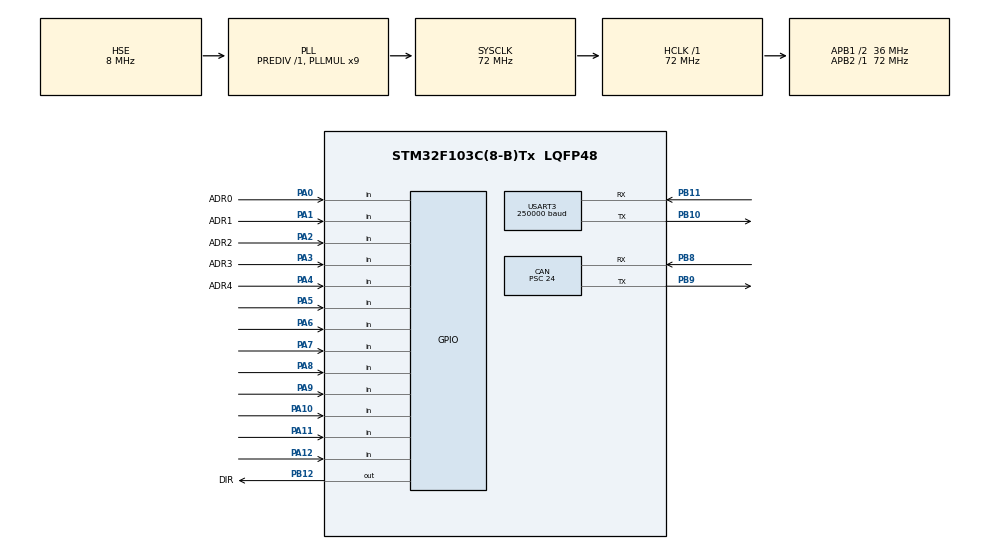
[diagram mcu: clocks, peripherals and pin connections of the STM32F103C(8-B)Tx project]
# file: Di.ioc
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CAN.CalculateBaudRate=499999
CAN.CalculateTimeBit=2000
CAN.CalculateTimeQuantum=666.6666666666667
CAN.Prescaler=24
Mcu.Family=STM32F1
Mcu.Name=STM32F103C(8-B)Tx
Mcu.Package=LQFP48
NVIC.PriorityGroup=NVIC_PRIORITYGROUP_4
NVIC.USART3_IRQn=true\:0\:0\:false\:false\:true\:true\:true\:true
NVIC.USB_LP_CAN1_RX0_IRQn=true\:0\:0\:false\:false\:true\:true\:true\:true
PA0-WKUP.GPIO_Label=ADR0
PA0-WKUP.Signal=GPIO_Input
PA1.GPIO_Label=ADR1
PA1.Signal=GPIO_Input
PA10.Signal=GPIO_Input
PA11.Signal=GPIO_Input
PA12.Signal=GPIO_Input
PA13.Mode=Serial_Wire
PA13.Signal=SYS_JTMS-SWDIO
PA14.Mode=Serial_Wire
PA14.Signal=SYS_JTCK-SWCLK
PA2.GPIO_Label=ADR2
PA2.Signal=GPIO_Input
PA3.GPIO_Label=ADR3
PA3.Signal=GPIO_Input
PA4.GPIO_Label=ADR4
PA4.Signal=GPIO_Input
PA5.Signal=GPIO_Input
PA6.Signal=GPIO_Input
PA7.Signal=GPIO_Input
PA8.Signal=GPIO_Input
PA9.Signal=GPIO_Input
PB10.Mode=Asynchronous
PB10.Signal=USART3_TX
PB11.Mode=Asynchronous
PB11.Signal=USART3_RX
PB12.GPIO_Label=DIR
PB12.Signal=GPIO_Output
PB8.Mode=CAN_Activate
PB8.Signal=CAN_RX
PB9.Mode=CAN_Activate
PB9.Signal=CAN_TX
PD0-OSC_IN.Mode=HSE-External-Oscillator
PD0-OSC_IN.Signal=RCC_OSC_IN
PD1-OSC_OUT.Mode=HSE-External-Oscillator
PD1-OSC_OUT.Signal=RCC_OSC_OUT
ProjectManager.HeapSize=0x200
ProjectManager.StackSize=0x400
ProjectManager.TargetToolchain=Other Toolchains (GPDSC)
RCC.AHBFreq_Value=72000000
RCC.APB1CLKDivider=RCC_HCLK_DIV2
RCC.APB1Freq_Value=36000000
RCC.APB1TimFreq_Value=72000000
RCC.APB2Freq_Value=72000000
RCC.APB2TimFreq_Value=72000000
RCC.HCLKFreq_Value=72000000
RCC.PLLMUL=RCC_PLL_MUL9
RCC.PLLSourceVirtual=RCC_PLLSOURCE_HSE
RCC.SYSCLKFreq_VALUE=72000000
RCC.SYSCLKSource=RCC_SYSCLKSOURCE_PLLCLK
RCC.USBFreq_Value=72000000
TIM1.Period=65534
TIM1.Prescaler=72-1
USART3.BaudRate=250000
USART3.VirtualMode=VM_ASYNC
USART3.WordLength=WORDLENGTH_8B
VP_CRC_VS_CRC.Mode=CRC_Activate
VP_TIM1_VS_ClockSourceINT.Mode=Internal
board=custom

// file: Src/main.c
/* USER CODE BEGIN Header */
/**
  ******************************************************************************
  * @file           : main.c
  * @brief          : Main program body
  ******************************************************************************
  * @attention
  *
  * Copyright (c) 2022 STMicroelectronics.
  * All rights reserved.
  *
  * This software is licensed under terms that can be found in the LICENSE file
  * in the root directory of this software component.
  * If no LICENSE file comes with this software, it is provided AS-IS.
  *
  ******************************************************************************
  */
/* USER CODE END Header */
#include "main.h"
#include "can.h"
#include "crc.h"
#include "tim.h"
#include "usart.h"
#include "gpio.h"

/* USER CODE BEGIN Includes */
#include "synplc.h"
/* USER CODE END Includes */

void SystemClock_Config(void);
/* USER CODE BEGIN PFP */
void Slave_Init(void);
/* USER CODE END PFP */

/* USER CODE BEGIN 0 */

uint8_t address = 0;
uint8_t reg_in = 0;
uint8_t reg_err = 0;

/*
  Reg-Addresses:
    0x1 = Output Reg
    0xF = Error Reg

*/
/* USER CODE END 0 */

int main(void)
{

  /* MCU Configuration--------------------------------------------------------*/

  /* Reset of all peripherals, Initializes the Flash interface and the Systick. */
  HAL_Init();

  /* Configure the system clock */
  SystemClock_Config();

  /* Initialize all configured peripherals */
  MX_GPIO_Init();
  MX_CAN_Init();
  MX_CRC_Init();
  MX_USART3_UART_Init();
  MX_TIM1_Init();
  /* USER CODE BEGIN 2 */

  timer_init();

  Slave_Init();
  init_485(address);

  __enable_irq();
  HAL_UART_Receive_IT(&huart3, RxBuffer, 1);

  /* USER CODE END 2 */

  /* Infinite loop */
  while (1)
  {
    reg_in = (GPIOA->IDR & 0x1FE0)>>5;
    delay_us(100);

  }
}

void SystemClock_Config(void)
{
  RCC_OscInitTypeDef RCC_OscInitStruct = {0};
  RCC_ClkInitTypeDef RCC_ClkInitStruct = {0};

  /** Initializes the RCC Oscillators according to the specified parameters
  * in the RCC_OscInitTypeDef structure.
  */
  RCC_OscInitStruct.OscillatorType = RCC_OSCILLATORTYPE_HSE;
  RCC_OscInitStruct.HSEState = RCC_HSE_ON;
  RCC_OscInitStruct.HSEPredivValue = RCC_HSE_PREDIV_DIV1;
  RCC_OscInitStruct.HSIState = RCC_HSI_ON;
  RCC_OscInitStruct.PLL.PLLState = RCC_PLL_ON;
  RCC_OscInitStruct.PLL.PLLSource = RCC_PLLSOURCE_HSE;
  RCC_OscInitStruct.PLL.PLLMUL = RCC_PLL_MUL9;
  if (HAL_RCC_OscConfig(&RCC_OscInitStruct) != HAL_OK)
  {
    Error_Handler();
  }

  /** Initializes the CPU, AHB and APB buses clocks
  */
  RCC_ClkInitStruct.ClockType = RCC_CLOCKTYPE_HCLK|RCC_CLOCKTYPE_SYSCLK
                              |RCC_CLOCKTYPE_PCLK1|RCC_CLOCKTYPE_PCLK2;
  RCC_ClkInitStruct.SYSCLKSource = RCC_SYSCLKSOURCE_PLLCLK;
  RCC_ClkInitStruct.AHBCLKDivider = RCC_SYSCLK_DIV1;
  RCC_ClkInitStruct.APB1CLKDivider = RCC_HCLK_DIV2;
  RCC_ClkInitStruct.APB2CLKDivider = RCC_HCLK_DIV1;

  if (HAL_RCC_ClockConfig(&RCC_ClkInitStruct, FLASH_LATENCY_2) != HAL_OK)
  {
    Error_Handler();
  }
}

/* USER CODE BEGIN 4 */
void HAL_UART_RxCpltCallback(UART_HandleTypeDef *huart)
{

  parse_485();

}

void Slave_Init(void)
{
  address = 0x00 + (GPIOA->IDR & 0x1F);
  reg_in = 0x00;
  HAL_GPIO_WritePin(GPIOB, GPIO_PIN_12, 0); // set Direction to read

}
/* USER CODE END 4 */

void Error_Handler(void)
{
  __disable_irq();
  while (1)
  {
  }
}
